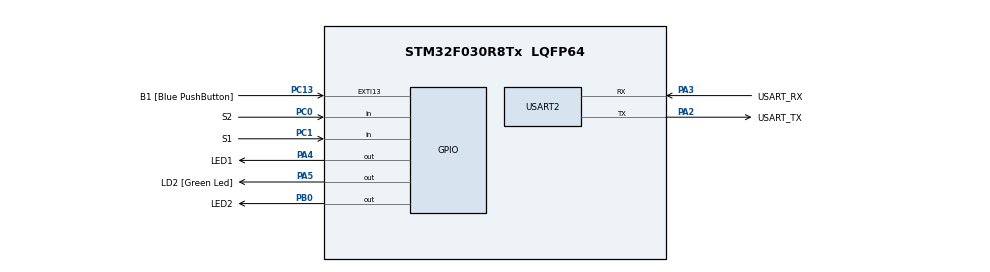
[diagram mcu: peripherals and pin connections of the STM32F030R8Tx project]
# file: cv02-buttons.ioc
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Mcu.Family=STM32F0
Mcu.Name=STM32F030R8Tx
Mcu.Package=LQFP64
PA13.GPIO_Label=TMS
PA13.Mode=Serial_Wire
PA13.Signal=SYS_SWDIO
PA14.GPIO_Label=TCK
PA14.Mode=Serial_Wire
PA14.Signal=SYS_SWCLK
PA2.GPIO_Label=USART_TX
PA2.GPIO_Mode=GPIO_MODE_AF_PP
PA2.GPIO_PuPd=GPIO_NOPULL
PA2.GPIO_Speed=GPIO_SPEED_FREQ_LOW
PA2.Mode=Asynchronous
PA2.Signal=USART2_TX
PA3.GPIO_Label=USART_RX
PA3.GPIO_Mode=GPIO_MODE_AF_PP
PA3.GPIO_PuPd=GPIO_NOPULL
PA3.GPIO_Speed=GPIO_SPEED_FREQ_LOW
PA3.Mode=Asynchronous
PA3.Signal=USART2_RX
PA4.GPIO_Label=LED1
PA4.Signal=GPIO_Output
PA5.GPIO_Label=LD2 [Green Led]
PA5.GPIO_Mode=GPIO_MODE_OUTPUT_PP
PA5.GPIO_PuPd=GPIO_NOPULL
PA5.GPIO_Speed=GPIO_SPEED_FREQ_LOW
PA5.Signal=GPIO_Output
PB0.GPIO_Label=LED2
PB0.Signal=GPIO_Output
PC0.GPIO_Label=S2
PC0.GPIO_PuPd=GPIO_PULLUP
PC0.Signal=GPIO_Input
PC1.GPIO_Label=S1
PC1.GPIO_PuPd=GPIO_PULLUP
PC1.Signal=GPIO_Input
PC13.GPIO_Label=B1 [Blue PushButton]
PC13.GPIO_ModeDefaultEXTI=GPIO_MODE_IT_FALLING
PC13.Signal=GPXTI13
PC14-OSC32_IN.Mode=LSE-External-Oscillator
PC14-OSC32_IN.Signal=RCC_OSC32_IN
PC15-OSC32_OUT.Mode=LSE-External-Oscillator
PC15-OSC32_OUT.Signal=RCC_OSC32_OUT
PF0-OSC_IN.Mode=HSE-External-Clock-Source
PF0-OSC_IN.Signal=RCC_OSC_IN
PF1-OSC_OUT.Signal=RCC_OSC_OUT
ProjectManager.HeapSize=0x200
ProjectManager.StackSize=0x400
ProjectManager.TargetToolchain=STM32CubeIDE
RCC.AHBFreq_Value=48000000
RCC.APB1Freq_Value=48000000
RCC.APB1TimFreq_Value=48000000
RCC.HCLKFreq_Value=48000000
RCC.PLLMUL=RCC_PLL_MUL12
RCC.SYSCLKFreq_VALUE=48000000
RCC.SYSCLKSource=RCC_SYSCLKSOURCE_PLLCLK
USART2.VirtualMode-Asynchronous=VM_ASYNC
board=NUCLEO-F030R8

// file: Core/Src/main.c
/* USER CODE BEGIN Header */
/**
 ******************************************************************************
 * @file           : main.c
 * @brief          : Main program body
 ******************************************************************************
 * @attention
 *
 * Copyright (c) 2024 STMicroelectronics.
 * All rights reserved.
 *
 * This software is licensed under terms that can be found in the LICENSE file
 * in the root directory of this software component.
 * If no LICENSE file comes with this software, it is provided AS-IS.
 *
 ******************************************************************************
 */
/* USER CODE END Header */
#include "main.h"

/* USER CODE BEGIN PD */
#define BLINK_TIME     300
#define BUTTON_PERIOD   40
#define LED_TIME_SHORT 100
#define LED_TIME_LONG 1000
/* USER CODE END PD */

/* USER CODE BEGIN PV */
volatile uint32_t Tick;
/* USER CODE END PV */

void SystemClock_Config(void);
static void MX_GPIO_Init(void);
static void MX_USART2_UART_Init(void);

/* USER CODE BEGIN 0 */
static void blink(){
	static uint32_t last_blink_tick;

	if (Tick > last_blink_tick + BLINK_TIME) {
		last_blink_tick = Tick;

		// Code here
		LL_GPIO_TogglePin(LED1_GPIO_Port, LED1_Pin);
	}

}

static void button(){

	static uint32_t off_time;
	static uint32_t old_s1;
	static uint32_t old_s2;

	uint32_t new_s1 = LL_GPIO_IsInputPinSet(S1_GPIO_Port, S1_Pin);
	uint32_t new_s2 = LL_GPIO_IsInputPinSet(S2_GPIO_Port, S2_Pin);

	if (old_s1 && !new_s1) { // falling edge
		off_time = Tick + LED_TIME_LONG;
		LL_GPIO_SetOutputPin(LED2_GPIO_Port, LED2_Pin);
	}
	old_s1 = new_s1;

	if (old_s2 && !new_s2) { // falling edge
			off_time = Tick + LED_TIME_SHORT;
			LL_GPIO_SetOutputPin(LED2_GPIO_Port, LED2_Pin);
		}
		old_s2 = new_s2;

	if(Tick > off_time){
		LL_GPIO_ResetOutputPin(LED2_GPIO_Port, LED2_Pin);
	}

}
/* USER CODE END 0 */

int main(void)
{

	/* MCU Configuration--------------------------------------------------------*/

	/* Reset of all peripherals, Initializes the Flash interface and the Systick. */
	LL_APB1_GRP2_EnableClock(LL_APB1_GRP2_PERIPH_SYSCFG);
	LL_APB1_GRP1_EnableClock(LL_APB1_GRP1_PERIPH_PWR);

	/* Configure the system clock */
	SystemClock_Config();

	/* Initialize all configured peripherals */
	MX_GPIO_Init();
	MX_USART2_UART_Init();
	/* USER CODE BEGIN 2 */
	LL_SYSTICK_EnableIT();
	/* USER CODE END 2 */

	/* Infinite loop */
	/* USER CODE BEGIN WHILE */
	while (1)
	{
		// LED blinking function
		blink();

		// Button handler function
		static uint32_t last_button_tick;
		if (Tick > last_button_tick + BUTTON_PERIOD) {
			last_button_tick = Tick;
			button();
		}

		/* USER CODE END WHILE */

	}
}

void SystemClock_Config(void)
{
	LL_FLASH_SetLatency(LL_FLASH_LATENCY_1);
	while(LL_FLASH_GetLatency() != LL_FLASH_LATENCY_1)
	{
	}
	LL_RCC_HSI_Enable();

	/* Wait till HSI is ready */
	while(LL_RCC_HSI_IsReady() != 1)
	{

	}
	LL_RCC_HSI_SetCalibTrimming(16);
	LL_RCC_PLL_ConfigDomain_SYS(LL_RCC_PLLSOURCE_HSI_DIV_2, LL_RCC_PLL_MUL_12);
	LL_RCC_PLL_Enable();

	/* Wait till PLL is ready */
	while(LL_RCC_PLL_IsReady() != 1)
	{

	}
	LL_RCC_SetAHBPrescaler(LL_RCC_SYSCLK_DIV_1);
	LL_RCC_SetAPB1Prescaler(LL_RCC_APB1_DIV_1);
	LL_RCC_SetSysClkSource(LL_RCC_SYS_CLKSOURCE_PLL);

	/* Wait till System clock is ready */
	while(LL_RCC_GetSysClkSource() != LL_RCC_SYS_CLKSOURCE_STATUS_PLL)
	{

	}
	LL_Init1msTick(48000000);
	LL_SetSystemCoreClock(48000000);
}

static void MX_USART2_UART_Init(void)
{

	LL_USART_InitTypeDef USART_InitStruct = {0};

	LL_GPIO_InitTypeDef GPIO_InitStruct = {0};

	/* Peripheral clock enable */
	LL_APB1_GRP1_EnableClock(LL_APB1_GRP1_PERIPH_USART2);

	LL_AHB1_GRP1_EnableClock(LL_AHB1_GRP1_PERIPH_GPIOA);
	/**USART2 GPIO Configuration
  PA2   ------> USART2_TX
  PA3   ------> USART2_RX
	 */
	GPIO_InitStruct.Pin = USART_TX_Pin;
	GPIO_InitStruct.Mode = LL_GPIO_MODE_ALTERNATE;
	GPIO_InitStruct.Speed = LL_GPIO_SPEED_FREQ_LOW;
	GPIO_InitStruct.OutputType = LL_GPIO_OUTPUT_PUSHPULL;
	GPIO_InitStruct.Pull = LL_GPIO_PULL_NO;
	GPIO_InitStruct.Alternate = LL_GPIO_AF_1;
	LL_GPIO_Init(USART_TX_GPIO_Port, &GPIO_InitStruct);

	GPIO_InitStruct.Pin = USART_RX_Pin;
	GPIO_InitStruct.Mode = LL_GPIO_MODE_ALTERNATE;
	GPIO_InitStruct.Speed = LL_GPIO_SPEED_FREQ_LOW;
	GPIO_InitStruct.OutputType = LL_GPIO_OUTPUT_PUSHPULL;
	GPIO_InitStruct.Pull = LL_GPIO_PULL_NO;
	GPIO_InitStruct.Alternate = LL_GPIO_AF_1;
	LL_GPIO_Init(USART_RX_GPIO_Port, &GPIO_InitStruct);

	USART_InitStruct.BaudRate = 38400;
	USART_InitStruct.DataWidth = LL_USART_DATAWIDTH_8B;
	USART_InitStruct.StopBits = LL_USART_STOPBITS_1;
	USART_InitStruct.Parity = LL_USART_PARITY_NONE;
	USART_InitStruct.TransferDirection = LL_USART_DIRECTION_TX_RX;
	USART_InitStruct.HardwareFlowControl = LL_USART_HWCONTROL_NONE;
	USART_InitStruct.OverSampling = LL_USART_OVERSAMPLING_16;
	LL_USART_Init(USART2, &USART_InitStruct);
	LL_USART_DisableIT_CTS(USART2);
	LL_USART_ConfigAsyncMode(USART2);
	LL_USART_Enable(USART2);

}

static void MX_GPIO_Init(void)
{
	LL_EXTI_InitTypeDef EXTI_InitStruct = {0};
	LL_GPIO_InitTypeDef GPIO_InitStruct = {0};

	/* GPIO Ports Clock Enable */
	LL_AHB1_GRP1_EnableClock(LL_AHB1_GRP1_PERIPH_GPIOC);
	LL_AHB1_GRP1_EnableClock(LL_AHB1_GRP1_PERIPH_GPIOF);
	LL_AHB1_GRP1_EnableClock(LL_AHB1_GRP1_PERIPH_GPIOA);
	LL_AHB1_GRP1_EnableClock(LL_AHB1_GRP1_PERIPH_GPIOB);

	/**/
	LL_GPIO_ResetOutputPin(LED1_GPIO_Port, LED1_Pin);

	/**/
	LL_GPIO_ResetOutputPin(LD2_GPIO_Port, LD2_Pin);

	/**/
	LL_GPIO_ResetOutputPin(LED2_GPIO_Port, LED2_Pin);

	/**/
	LL_SYSCFG_SetEXTISource(LL_SYSCFG_EXTI_PORTC, LL_SYSCFG_EXTI_LINE13);

	/**/
	LL_GPIO_SetPinPull(B1_GPIO_Port, B1_Pin, LL_GPIO_PULL_NO);

	/**/
	LL_GPIO_SetPinMode(B1_GPIO_Port, B1_Pin, LL_GPIO_MODE_INPUT);

	/**/
	EXTI_InitStruct.Line_0_31 = LL_EXTI_LINE_13;
	EXTI_InitStruct.LineCommand = ENABLE;
	EXTI_InitStruct.Mode = LL_EXTI_MODE_IT;
	EXTI_InitStruct.Trigger = LL_EXTI_TRIGGER_FALLING;
	LL_EXTI_Init(&EXTI_InitStruct);

	/**/
	GPIO_InitStruct.Pin = S2_Pin;
	GPIO_InitStruct.Mode = LL_GPIO_MODE_INPUT;
	GPIO_InitStruct.Pull = LL_GPIO_PULL_UP;
	LL_GPIO_Init(S2_GPIO_Port, &GPIO_InitStruct);

	/**/
	GPIO_InitStruct.Pin = S1_Pin;
	GPIO_InitStruct.Mode = LL_GPIO_MODE_INPUT;
	GPIO_InitStruct.Pull = LL_GPIO_PULL_UP;
	LL_GPIO_Init(S1_GPIO_Port, &GPIO_InitStruct);

	/**/
	GPIO_InitStruct.Pin = LED1_Pin;
	GPIO_InitStruct.Mode = LL_GPIO_MODE_OUTPUT;
	GPIO_InitStruct.Speed = LL_GPIO_SPEED_FREQ_LOW;
	GPIO_InitStruct.OutputType = LL_GPIO_OUTPUT_PUSHPULL;
	GPIO_InitStruct.Pull = LL_GPIO_PULL_NO;
	LL_GPIO_Init(LED1_GPIO_Port, &GPIO_InitStruct);

	/**/
	GPIO_InitStruct.Pin = LD2_Pin;
	GPIO_InitStruct.Mode = LL_GPIO_MODE_OUTPUT;
	GPIO_InitStruct.Speed = LL_GPIO_SPEED_FREQ_LOW;
	GPIO_InitStruct.OutputType = LL_GPIO_OUTPUT_PUSHPULL;
	GPIO_InitStruct.Pull = LL_GPIO_PULL_NO;
	LL_GPIO_Init(LD2_GPIO_Port, &GPIO_InitStruct);

	/**/
	GPIO_InitStruct.Pin = LED2_Pin;
	GPIO_InitStruct.Mode = LL_GPIO_MODE_OUTPUT;
	GPIO_InitStruct.Speed = LL_GPIO_SPEED_FREQ_LOW;
	GPIO_InitStruct.OutputType = LL_GPIO_OUTPUT_PUSHPULL;
	GPIO_InitStruct.Pull = LL_GPIO_PULL_NO;
	LL_GPIO_Init(LED2_GPIO_Port, &GPIO_InitStruct);

}

void Error_Handler(void)
{
	__disable_irq();
	while (1)
	{
	}
}
